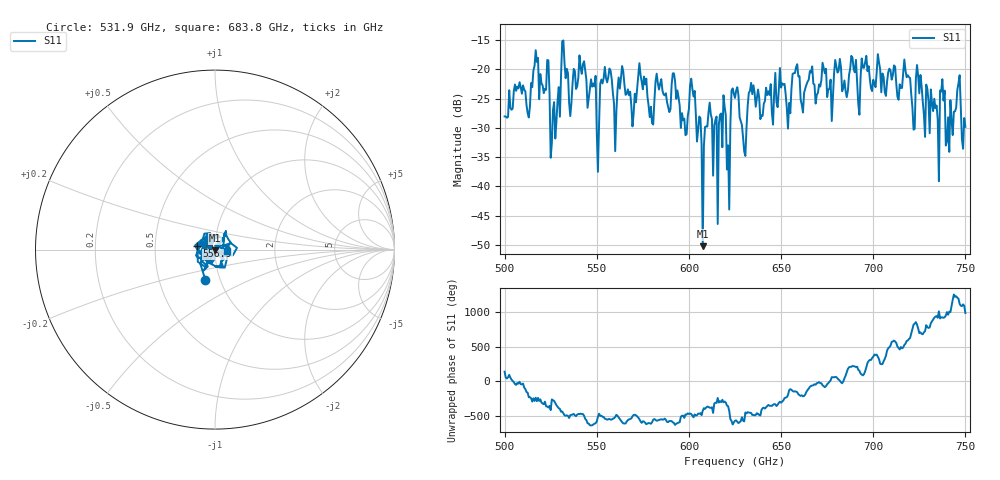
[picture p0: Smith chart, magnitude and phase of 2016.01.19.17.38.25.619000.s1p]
!Created with skrf (http://scikit-rf.org).
# GHz S RI R 50.0
!freq ReS11 ImS11
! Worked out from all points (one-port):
!   401 points, 500 GHz to 750 GHz, reference 50 ohm
!   lowest |S11| = -50.2 dB at 607.5 GHz (marker M1), VSWR 1.01, Z = 50.1 - j0.291 ohm
!   |S11| at or under -10 dB: start of sweep to end of sweep
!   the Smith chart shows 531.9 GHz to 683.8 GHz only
!   S11 on the Smith chart (normalised r, x): 531.9 GHz: 0.85, -0.30; 556.9 GHz: 0.82, +0.03; 683.8 GHz: 1.15, -0.02
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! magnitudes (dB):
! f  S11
! 500 GHz  -28.0
! 513.1 GHz  -28.2
! 516.9 GHz  -16.7
! 526.2 GHz  -26.9
! 531.2 GHz  -15.2
! 531.9 GHz  -15.1
! 550 GHz  -30.6
! 556.9 GHz  -19.9
! 560 GHz  -34.0
! 562.5 GHz  -23.3
! 593.8 GHz  -23.6
! 598.1 GHz  -31.2
! 601.9 GHz  -23.4
! 607.5 GHz  -50.2
! 611.2 GHz  -25.7
! 621.2 GHz  -33.0
! 625 GHz  -24.9
! 630 GHz  -34.0
! 633.8 GHz  -22.3
! 656.2 GHz  -20.8
! 683.8 GHz  -23.2
! 687.5 GHz  -19.9
! 718.8 GHz  -21.0
! 734.4 GHz  -26.2
! 737.5 GHz  -21.7
! 740.6 GHz  -28.2
! 746.2 GHz  -22.4
! 750 GHz  -29.8
